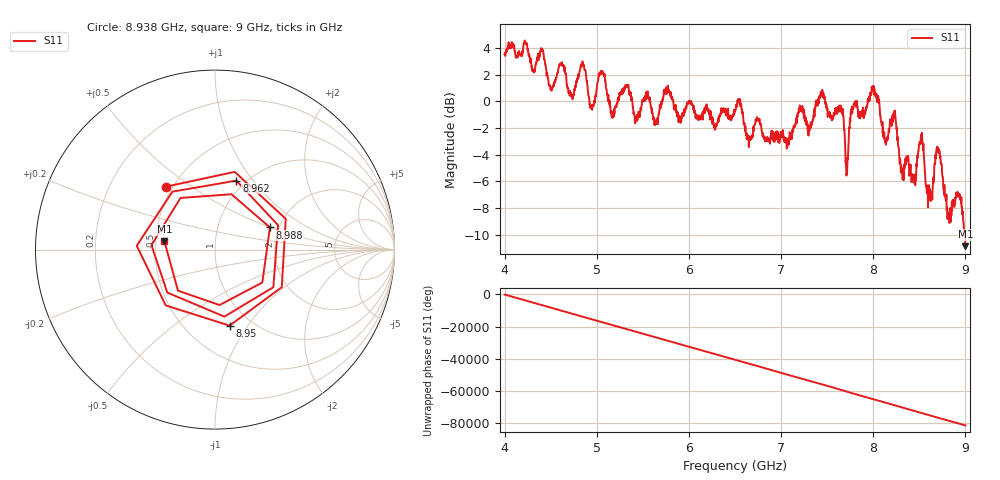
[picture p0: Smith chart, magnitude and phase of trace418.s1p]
! Created with skrf 1.8.0 (http://scikit-rf.org).
# Hz S RI R 50.0
!freq ReS11 ImS11
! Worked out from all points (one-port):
!   1601 points, 4 GHz to 9 GHz, reference 50 ohm
!   lowest |S11| = -10.9 dB at 9 GHz (marker M1), VSWR 1.80, Z = 27.9 + j2.85 ohm
!   |S11| at or under -10 dB: 8.992309 GHz to end of sweep
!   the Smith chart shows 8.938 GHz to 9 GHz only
!   S11 on the Smith chart (normalised r, x): 8.938 GHz: 0.46, +0.40; 8.95 GHz: 0.80, -0.83; 8.962 GHz: 0.91, +0.83; 8.988 GHz: 1.79, +0.50; 9 GHz: 0.56, +0.06
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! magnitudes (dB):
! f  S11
! 4 GHz  3.5
! 4.503 GHz  1.0
! 4.625 GHz  2.7
! 4.728 GHz  0.4
! 4.853 GHz  2.8
! 4.944 GHz  -0.5
! 5.047 GHz  2.1
! 5.169 GHz  -1.2
! 5.25 GHz  0.4
! 5.875 GHz  -0.9
! 6.5 GHz  -0.6
! 7.125 GHz  -2.1
! 7.438 GHz  0.4
! 7.65 GHz  -0.3
! 7.709 GHz  -5.6
! 7.75 GHz  -1.5
! 8.009 GHz  0.6
! 8.375 GHz  -4.1
! 8.441 GHz  -5.8
! 8.522 GHz  -2.7
! 8.619 GHz  -7.4
! 8.706 GHz  -3.5
! 8.822 GHz  -8.5
! 8.938 GHz  -7.1
! 8.95 GHz  -7.3
! 8.962 GHz  -7.9
! 8.988 GHz  -9.6
! 9 GHz  -10.9
